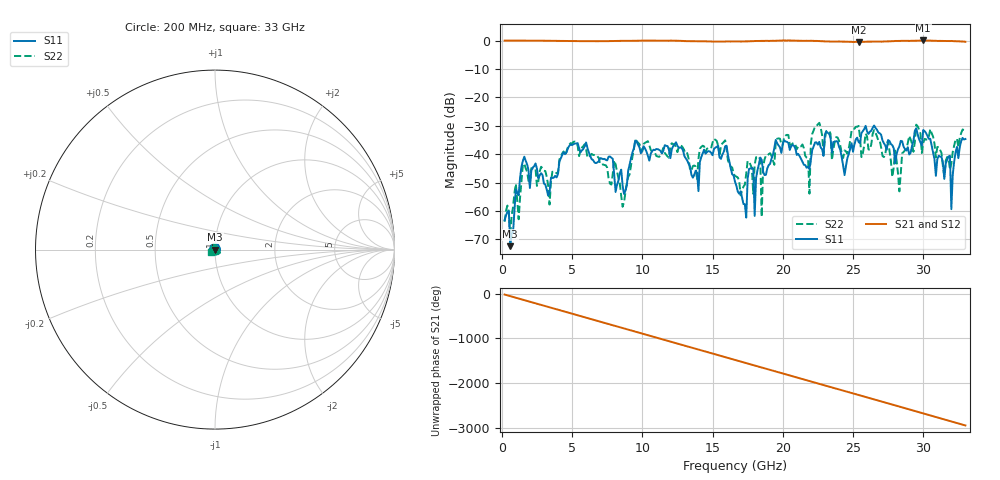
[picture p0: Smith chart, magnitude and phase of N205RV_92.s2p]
# GHZ S RI R 50
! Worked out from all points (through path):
!   329 points, 200 MHz to 33 GHz, reference 50 ohm
!   highest |S21| = 0.04 dB at 30 GHz (marker M1); lowest = -0.5 dB at 25.4 GHz (marker M2)
!   group delay of S21, straight-line fit = 248 ps
!   lowest |S11| = -72.4 dB at 600 MHz (marker M3), VSWR 1.00, Z = 50 + j0.0225 ohm
!   |S11| at or under -10 dB: start of sweep to end of sweep
!   |S22| runs from -69.3 to -29.0 dB; largest |S21 - S12| = 0.0019
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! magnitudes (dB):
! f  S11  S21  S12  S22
! 200 MHz  -63.2  0.0  0.0  -63.8
! 600 MHz  -72.4  0.0  0.0  -69.3
! 1.6 GHz  -40.9  0.0  0.0  -43.3
! 3.4 GHz  -53.3  -0.1  -0.1  -57.8
! 5.7 GHz  -38.7  -0.2  -0.2  -37.7
! 8.6 GHz  -51.1  -0.1  -0.1  -58.5
! 9.5 GHz  -35.2  -0.1  -0.1  -35.1
! 11.2 GHz  -38.5  0.0  0.0  -40.9
! 16.6 GHz  -49.7  -0.3  -0.3  -47.7
! 18 GHz  -61.7  -0.1  -0.1  -43.8
! 18.3 GHz  -43.6  -0.1  -0.1  -40.8
! 18.5 GHz  -42.0  -0.1  -0.1  -62.1
! 18.7 GHz  -47.4  -0.1  -0.1  -41.8
! 20.4 GHz  -36.1  0.0  0.0  -33.3
! 21.9 GHz  -45.3  -0.1  -0.1  -53.9
! 22.1 GHz  -38.5  -0.1  -0.1  -32.9
! 25.4 GHz  -35.7  -0.5  -0.5  -30.1
! 27.6 GHz  -35.4  -0.2  -0.2  -38.9
! 30 GHz  -31.5  0.0  0.0  -36.0
! 31.9 GHz  -40.6  -0.2  -0.2  -45.4
! 32 GHz  -59.4  -0.1  -0.1  -43.4
! 33 GHz  -34.7  -0.4  -0.4  -31.2
